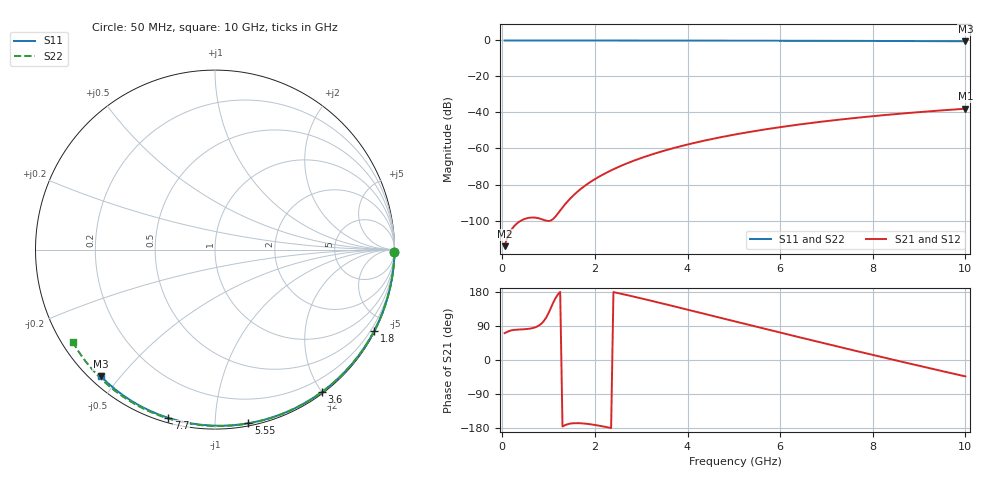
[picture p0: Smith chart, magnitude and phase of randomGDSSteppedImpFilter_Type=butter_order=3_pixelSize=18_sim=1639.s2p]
! freq	dB(S11)	phase(S11)	dB(S12)	phase(S12)
!  dB(S21)	phase(S21)	dB(S22)	phase(S22)
!S-par simulation data
#  GHz  S  DB  R 50
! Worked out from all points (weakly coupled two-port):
!   200 points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, 50 MHz to 10 GHz, reference 50 ohm
!   highest |S21| = -37.91 dB at 10 GHz (marker M1); lowest = -114.2 dB at 50 MHz (marker M2)
!   lowest |S11| = -0.4 dB at 10 GHz (marker M3), VSWR 38.91, Z = 1.54 - j22.2 ohm
!   |S11| at or under -10 dB: nowhere
!   |S22| runs from -0.5 to 0.0 dB; largest |S21 - S12| = 0
!   S11 on the Smith chart (normalised r, x): 50 MHz: open; 1.8 GHz: 0.04, -4.15; 3.6 GHz: 0.02, -2.01; 5.55 GHz: 0.02, -1.21; 7.7 GHz: 0.02, -0.76; 10 GHz: 0.03, -0.44
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0.05  -0.00 -0.8  -114.25 70.9  -114.25 70.9  -0.00 -0.9
0.45  -0.01 -6.9  -99.47 81.0  -99.47 81.0  -0.01 -7.7
0.9  -0.02 -13.7  -99.70 103.3  -99.70 103.3  -0.02 -15.3
1.3  -0.02 -19.7  -92.76 -175.5  -92.76 -175.5  -0.03 -22.0
1.75  -0.03 -26.4  -81.37 -167.5  -81.37 -167.5  -0.04 -29.5
1.8  -0.03 -27.1  -80.41 -168.1  -80.41 -168.1  -0.04 -30.3
1.85  -0.04 -27.8  -79.51 -168.8  -79.51 -168.8  -0.04 -31.2
2.05  -0.04 -30.8  -76.24 -172.5  -76.24 -172.5  -0.04 -34.4
2.2  -0.04 -33.0  -74.10 -175.8  -74.10 -175.8  -0.05 -36.9
2.55  -0.05 -38.1  -69.79 175.2  -69.79 175.2  -0.05 -42.6
2.95  -0.06 -43.8  -65.74 164.1  -65.74 164.1  -0.06 -48.9
3.4  -0.07 -50.2  -61.95 150.9  -61.95 150.9  -0.07 -56.0
3.6  -0.07 -53.0  -60.46 144.9  -60.46 144.9  -0.08 -59.1
4.3  -0.09 -62.6  -55.99 123.8  -55.99 123.8  -0.10 -69.8
5.05  -0.11 -72.6  -52.11 101.1  -52.11 101.1  -0.12 -80.8
5.55  -0.13 -79.1  -49.92 86.0  -49.92 86.0  -0.14 -87.9
6.1  -0.15 -86.1  -47.78 69.5  -47.78 69.5  -0.17 -95.6
6.7  -0.18 -93.5  -45.73 51.6  -45.73 51.6  -0.20 -103.9
7.7  -0.24 -105.6  -42.82 22.1  -42.82 22.1  -0.27 -117.2
8.35  -0.29 -113.2  -41.22 3.3  -41.22 3.3  -0.32 -125.7
9.2  -0.36 -122.9  -39.39 -20.9  -39.39 -20.9  -0.40 -136.7
10  -0.45 -132.0  -37.91 -43.3  -37.91 -43.3  -0.49 -147.1
